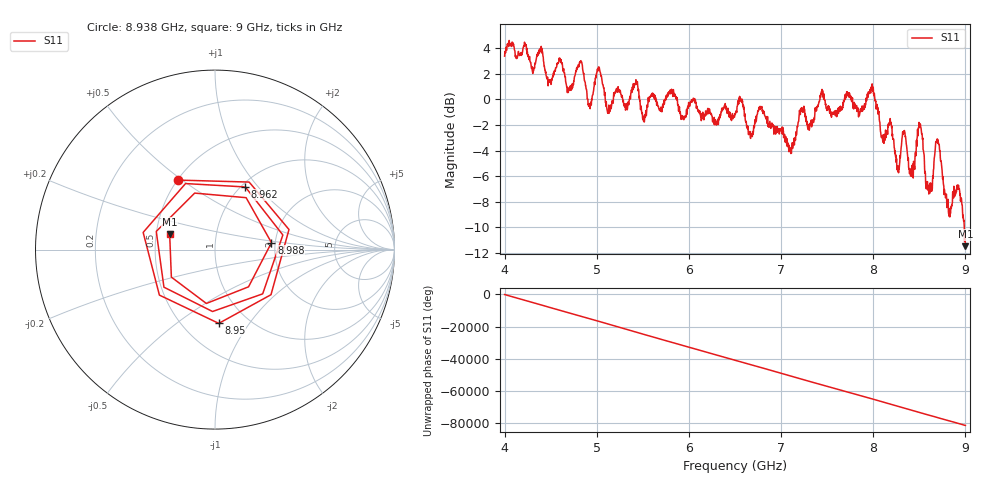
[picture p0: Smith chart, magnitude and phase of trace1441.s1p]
! Created with skrf 1.8.0 (http://scikit-rf.org).
# Hz S RI R 50.0
!freq ReS11 ImS11
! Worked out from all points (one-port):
!   1601 points, 4 GHz to 9 GHz, reference 50 ohm
!   lowest |S11| = -11.5 dB at 9 GHz (marker M1), VSWR 1.73, Z = 29.5 + j5.52 ohm
!   |S11| at or under -10 dB: 8.988054 GHz to end of sweep
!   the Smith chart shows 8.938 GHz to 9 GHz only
!   S11 on the Smith chart (normalised r, x): 8.938 GHz: 0.51, +0.48; 8.95 GHz: 0.74, -0.73; 8.962 GHz: 1.05, +0.86; 8.988 GHz: 1.91, +0.16; 9 GHz: 0.59, +0.11
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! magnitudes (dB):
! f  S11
! 4 GHz  3.4
! 4.625 GHz  2.8
! 4.703 GHz  0.7
! 4.825 GHz  3.0
! 4.922 GHz  -0.4
! 5.016 GHz  2.5
! 5.119 GHz  -1.1
! 5.25 GHz  0.7
! 5.431 GHz  1.2
! 5.512 GHz  -1.5
! 5.875 GHz  -0.1
! 6.5 GHz  -1.1
! 7.125 GHz  -3.8
! 7.225 GHz  -0.6
! 7.75 GHz  0.2
! 7.988 GHz  1.2
! 8.103 GHz  -3.2
! 8.375 GHz  -4.5
! 8.425 GHz  -6.0
! 8.506 GHz  -1.9
! 8.594 GHz  -6.8
! 8.7 GHz  -3.1
! 8.822 GHz  -8.6
! 8.938 GHz  -7.2
! 8.95 GHz  -7.7
! 8.962 GHz  -8.2
! 8.988 GHz  -10.0
! 9 GHz  -11.5
